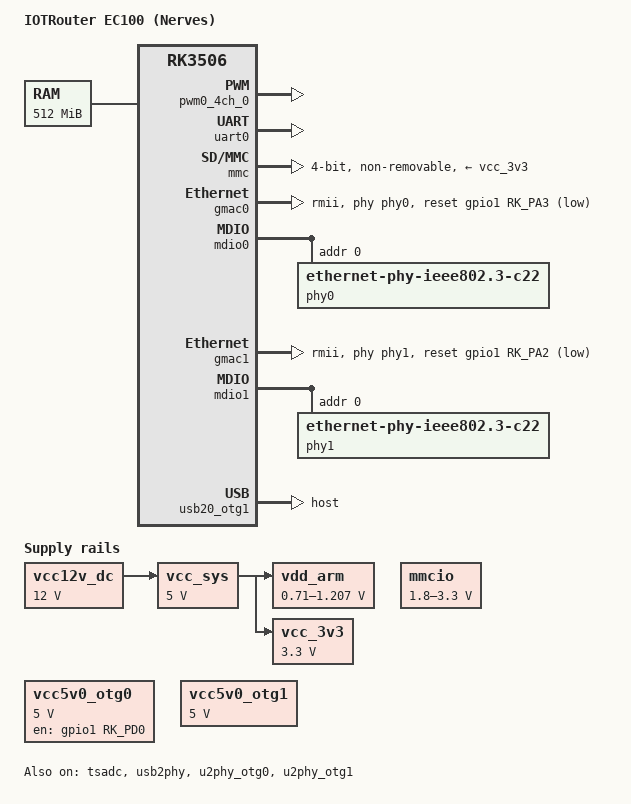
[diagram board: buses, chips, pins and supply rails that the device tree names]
// SPDX-License-Identifier: (GPL-2.0+ OR MIT)
/*
 * Minimal EC100 hardware, reconciled against iotrouter/live-device-tree.dts.
 * See docs/ec100-hardware-map.md for provenance and deferred peripherals.
 * This is not the vendor userspace/partition/clock policy.
 */

/dts-v1/;

#include <dt-bindings/gpio/gpio.h>
#include <dt-bindings/pinctrl/rockchip.h>

/* Reservations must precede the root nodes in the included SoC tree. */
/memreserve/ 0x00063000 0x0000b000;

#include "rk3506.dtsi"

/* Replace newer BSP OPP policy with the captured EC100 table below. */
/delete-node/ &cpu0_opp_table;

/ {
    cpu0_opp_table: cpu0-opp-table {
        compatible = "operating-points-v2";
        opp-shared;
        nvmem-cells = <&cpu_leakage>;
        nvmem-cell-names = "leakage";
        rockchip,pvtm-voltage-sel = <
            0 1584 0
            1585 1619 1
            1620 1654 2
            1655 1689 3
            1690 1724 4
            1725 1759 5
            1760 1794 6
            1795 9999 7
        >;
        rockchip,pvtm-pvtpll;
        rockchip,pvtm-offset = <0x18>;
        rockchip,pvtm-sample-time = <500>;
        rockchip,pvtm-freq = <1608000>;
        rockchip,pvtm-volt = <1000000>;
        rockchip,pvtm-ref-temp = <40>;
        rockchip,pvtm-temp-prop = <0 0>;
        rockchip,pvtm-thermal-zone = "soc-thermal";
        rockchip,grf = <&pvtpll_core>;
        rockchip,temp-hysteresis = <5000>;
        rockchip,low-temp = <10000>;
        rockchip,low-temp-min-volt = <900000>;

        opp-600000000 {
            opp-hz = /bits/ 64 <600000000>;
            opp-microvolt = <850000 850000 1000000>;
            clock-latency-ns = <40000>;
            opp-suspend;
            status = "okay";
        };
        opp-800000000 {
            opp-hz = /bits/ 64 <800000000>;
            opp-microvolt = <850000 850000 1000000>;
            clock-latency-ns = <40000>;
            status = "okay";
        };
        opp-1008000000 {
            opp-hz = /bits/ 64 <1008000000>;
            opp-microvolt = <850000 850000 1000000>;
            opp-microvolt-L0 = <875000 875000 1000000>;
            clock-latency-ns = <40000>;
            status = "okay";
        };
        opp-1200000000 {
            opp-hz = /bits/ 64 <1200000000>;
            opp-microvolt = <850000 850000 1000000>;
            opp-microvolt-L0 = <875000 875000 1000000>;
            clock-latency-ns = <40000>;
            status = "okay";
        };
    };
};

/ {
    model = "IOTRouter EC100 (Nerves)";
    compatible = "iotrouter,ec100", "rockchip,rk3506";

    aliases {
        serial0 = &uart0;
        /* SPI MMC is not enabled: boot eMMC is the Nerves mmcblk0. */
        mmc0 = &mmc;
    };

    chosen {
        stdout-path = "serial0:115200n8";
        bootargs = "earlycon=uart8250,mmio32,0xff0a0000 console=ttyS0,115200 rootwait ro";
    };

    memory@0 {
        device_type = "memory";
        reg = <0x00000000 0x20000000>;
    };

    reserved-memory {
        /delete-node/ drm-logo@0;
        /delete-node/ linux,cma;

        /* Inherit the vendor trust@0 reservation: base 0, size 0x62000.
         * The official small TEE does not require a dynamic TOS memory tag.
         */
    };

    vcc12v_dc: vcc12v-dc {
        compatible = "regulator-fixed";
        regulator-name = "vcc12v_dc";
        regulator-always-on;
        regulator-boot-on;
        regulator-min-microvolt = <12000000>;
        regulator-max-microvolt = <12000000>;
    };

    vcc_sys: vcc-sys {
        compatible = "regulator-fixed";
        regulator-name = "vcc_sys";
        regulator-always-on;
        regulator-boot-on;
        regulator-min-microvolt = <5000000>;
        regulator-max-microvolt = <5000000>;
        vin-supply = <&vcc12v_dc>;
    };

    /* Original EC100 CPU rail: PWM0 channel 0, inverse polarity. */
    vdd_arm: vdd-arm {
        compatible = "pwm-regulator";
        pwms = <&pwm0_4ch_0 0 5000 1>;
        regulator-name = "vdd_arm";
        regulator-min-microvolt = <710000>;
        regulator-max-microvolt = <1207000>;
        regulator-init-microvolt = <1011000>;
        regulator-always-on;
        regulator-boot-on;
        regulator-settling-time-up-us = <250>;
        pwm-supply = <&vcc_sys>;
    };

    vcc_3v3: vcc-3v3 {
        compatible = "regulator-fixed";
        regulator-name = "vcc_3v3";
        regulator-always-on;
        regulator-boot-on;
        regulator-min-microvolt = <3300000>;
        regulator-max-microvolt = <3300000>;
        vin-supply = <&vcc_sys>;
    };

    mmcio: mmcio-gpio-regulator {
        compatible = "regulator-gpio";
        regulator-name = "mmcio-gpio-supply";
        regulator-min-microvolt = <1800000>;
        regulator-max-microvolt = <3300000>;
        pinctrl-names = "default";
        pinctrl-0 = <&mmcio_voltage_pin>;
        gpios = <&gpio0 RK_PD0 GPIO_ACTIVE_HIGH>;
        gpios-states = <0>;
        states = <3300000 1>, <1800000 0>;
        startup-delay-us = <100000>;
    };

    vcc5v0_otg0: vcc5v0-otg0-regulator {
        compatible = "regulator-fixed";
        regulator-name = "vcc5v0_otg0";
        regulator-min-microvolt = <5000000>;
        regulator-max-microvolt = <5000000>;
        enable-active-high;
        gpio = <&gpio1 RK_PD0 GPIO_ACTIVE_HIGH>;
        pinctrl-names = "default";
        pinctrl-0 = <&vcc5v0_otg0_en>;
    };

    vcc5v0_otg1: vcc5v0-otg1-regulator {
        compatible = "regulator-fixed";
        regulator-name = "vcc5v0_otg1";
        regulator-boot-on;
        regulator-always-on;
        regulator-min-microvolt = <5000000>;
        regulator-max-microvolt = <5000000>;
    };
};

&cpu0 {
    cpu-supply = <&vdd_arm>;
};

&pwm0_4ch_0 {
    pinctrl-names = "active";
    pinctrl-0 = <&rm_io21_pwm0_ch0>;
    status = "okay";
};

/* PVTM calibration requires the original board's thermal sensor. */
&tsadc {
    status = "okay";
};

/* Same UART/pins/baud as live FIQ debugger, using the standard Linux console. */
&uart0 {
    pinctrl-names = "default";
    pinctrl-0 = <&uart0_xfer_pins>;
    status = "okay";
};

&mmc {
    bus-width = <4>;
    cap-mmc-highspeed;
    mmc-hs200-1_8v;
    max-frequency = <150000000>;
    non-removable;
    no-sd;
    no-sdio;
    vmmc-supply = <&vcc_3v3>;
    vqmmc-supply = <&mmcio>;
    pinctrl-names = "default";
    pinctrl-0 = <&sdmmc_clk_pins &sdmmc_cmd_pins &sdmmc_bus4_pins>;
    status = "okay";
};

&gmac0 {
    phy-mode = "rmii";
    clock_in_out = "input";
    snps,reset-gpio = <&gpio1 RK_PA3 GPIO_ACTIVE_LOW>;
    snps,reset-active-low;
    snps,reset-delays-us = <20000 20000 20000>;
    pinctrl-names = "default";
    pinctrl-0 = <&eth_rmii0_miim_pins &eth_rmii0_tx_bus2_pins
                 &eth_rmii0_rx_bus2_pins &eth_rmii0_clk_pins>;
    phy-handle = <&phy0>;
    status = "okay";
};

&mdio0 {
    phy0: ethernet-phy@0 {
        compatible = "ethernet-phy-ieee802.3-c22";
        reg = <0>;
    };
};

&gmac1 {
    phy-mode = "rmii";
    clock_in_out = "input";
    snps,reset-gpio = <&gpio1 RK_PA2 GPIO_ACTIVE_LOW>;
    snps,reset-active-low;
    snps,reset-delays-us = <20000 20000 20000>;
    pinctrl-names = "default";
    pinctrl-0 = <&eth_rmii1_miim_pins &eth_rmii1_tx_bus2_pins
                 &eth_rmii1_rx_bus2_pins &eth_rmii1_clk_pins>;
    phy-handle = <&phy1>;
    status = "okay";
};

&mdio1 {
    phy1: ethernet-phy@0 {
        compatible = "ethernet-phy-ieee802.3-c22";
        reg = <0>;
    };
};

&usb2phy {
    status = "okay";
};

&u2phy_otg0 {
    /delete-property/ rockchip,low-power-mode;
    vbus-supply = <&vcc5v0_otg0>;
    status = "okay";
};

&u2phy_otg1 {
    phy-supply = <&vcc5v0_otg1>;
    status = "okay";
};

/* Bring-up workaround: OTG role switching panics in gadget DMA mapping.
 * Keep the tested RAM-DTB disablement until that driver path is fixed.
 * The separate USB host controller and BootROM MASKROM recovery still work.
 */
&usb20_otg0 {
    dr_mode = "otg";
    status = "disabled";
};

&usb20_otg1 {
    dr_mode = "host";
    status = "okay";
};

&pinctrl {
    mmcio {
        mmcio_voltage_pin: mmcio-voltage-pin {
            rockchip,pins = <0 RK_PD0 RK_FUNC_GPIO &pcfg_pull_none>;
        };
    };

    usb {
        vcc5v0_otg0_en: vcc5v0-otg0-en {
            rockchip,pins = <1 RK_PD0 RK_FUNC_GPIO &pcfg_pull_none>;
        };
    };
};

/*
 * GPIO0_B1 is observed as WDG_PI and toggles in vendor runtime, but the
 * supervisor protocol/timeout is not captured. Do not invent a gpio-wdt or
 * assume the internal WDT covers it. Resolve before unattended operation.
 */
&wdt0 {
    status = "disabled";
};

&wdt1 {
    status = "disabled";
};
